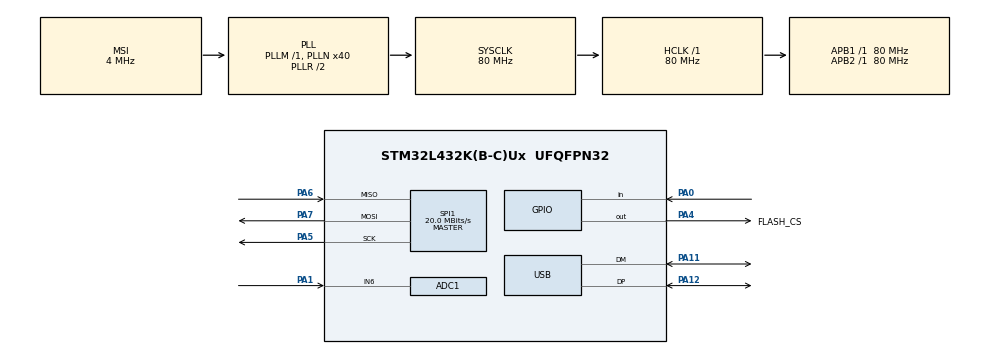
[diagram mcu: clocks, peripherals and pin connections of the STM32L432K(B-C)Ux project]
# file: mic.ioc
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ADC1.Channel-0\#ChannelRegularConversion=ADC_CHANNEL_6
ADC1.DMAContinuousRequests=ENABLE
ADC1.ExternalTrigConv=ADC_EXTERNALTRIG_T6_TRGO
ADC1.NbrOfConversionFlag=1
ADC1.OffsetNumber-0\#ChannelRegularConversion=ADC_OFFSET_NONE
ADC1.Rank-0\#ChannelRegularConversion=1
ADC1.SamplingTime-0\#ChannelRegularConversion=ADC_SAMPLETIME_2CYCLES_5
ADC1.master=1
Dma.ADC1.0.Direction=DMA_PERIPH_TO_MEMORY
Dma.ADC1.0.Instance=DMA1_Channel1
Dma.ADC1.0.MemDataAlignment=DMA_MDATAALIGN_HALFWORD
Dma.ADC1.0.MemInc=DMA_MINC_ENABLE
Dma.ADC1.0.Mode=DMA_CIRCULAR
Dma.ADC1.0.PeriphDataAlignment=DMA_PDATAALIGN_HALFWORD
Dma.ADC1.0.PeriphInc=DMA_PINC_DISABLE
Dma.ADC1.0.Priority=DMA_PRIORITY_LOW
Dma.Request0=ADC1
FATFS._MAX_SS=4096
Mcu.Family=STM32L4
Mcu.Name=STM32L432K(B-C)Ux
Mcu.Package=UFQFPN32
NVIC.DMA1_Channel1_IRQn=true\:0\:0\:false\:false\:true\:false\:true\:true
NVIC.PriorityGroup=NVIC_PRIORITYGROUP_4
NVIC.USB_IRQn=true\:0\:0\:false\:false\:true\:false\:true\:true
PA0.GPIO_PuPd=GPIO_PULLUP
PA0.Signal=GPIO_Input
PA1.Signal=ADCx_IN6
PA11.Mode=Device
PA11.Signal=USB_DM
PA12.Mode=Device
PA12.Signal=USB_DP
PA4.GPIO_Label=FLASH_CS
PA4.PinState=GPIO_PIN_SET
PA4.Signal=GPIO_Output
PA5.Mode=Full_Duplex_Master
PA5.Signal=SPI1_SCK
PA6.Mode=Full_Duplex_Master
PA6.Signal=SPI1_MISO
PA7.Mode=Full_Duplex_Master
PA7.Signal=SPI1_MOSI
ProjectManager.HeapSize=0x200
ProjectManager.StackSize=0x400
ProjectManager.TargetToolchain=STM32CubeIDE
RCC.ADCFreq_Value=48000000
RCC.AHBFreq_Value=80000000
RCC.APB1Freq_Value=80000000
RCC.APB1TimFreq_Value=80000000
RCC.APB2Freq_Value=80000000
RCC.APB2TimFreq_Value=80000000
RCC.CK48CLockSelection=RCC_USBCLKSOURCE_HSI48
RCC.CortexFreq_Value=80000000
RCC.HCLKFreq_Value=80000000
RCC.HSE_VALUE=8000000
RCC.HSI16_VALUE=16000000
RCC.HSI48_VALUE=48000000
RCC.HSI_VALUE=16000000
RCC.LSE_VALUE=32768
RCC.MSI_VALUE=4000000
RCC.PLLMUL=RCC_PLLMUL_4
RCC.PLLN=40
RCC.PLLSAI1N=24
RCC.SYSCLKFreq_VALUE=80000000
RCC.SYSCLKSource=RCC_SYSCLKSOURCE_PLLCLK
RCC.USBFreq_Value=48000000
RCC.VCOOutputFreq_Value=160000000
SH.ADCx_IN6.0=ADC1_IN6,IN6-Single-Ended
SPI1.BaudRatePrescaler=SPI_BAUDRATEPRESCALER_4
SPI1.CalculateBaudRate=20.0 MBits/s
SPI1.DataSize=SPI_DATASIZE_8BIT
SPI1.Direction=SPI_DIRECTION_2LINES
SPI1.Mode=SPI_MODE_MASTER
SPI1.NSSPMode=SPI_NSS_PULSE_DISABLE
SPI1.VirtualType=VM_MASTER
TIM6.Period=7999
TIM6.TIM_MasterOutputTrigger=TIM_TRGO_UPDATE
USB_DEVICE.CLASS_NAME_FS=MSC
USB_DEVICE.MANUFACTURER_STRING=Richard
USB_DEVICE.VirtualMode=Msc
USB_DEVICE.VirtualModeFS=Msc_FS
VP_FATFS_VS_Generic.Mode=User_defined
VP_TIM6_VS_ClockSourceINT.Mode=Enable_Timer
VP_USB_DEVICE_VS_USB_DEVICE_MSC_FS.Mode=MSC_FS
board=NUCLEO-L432KC

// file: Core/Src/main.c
/* USER CODE BEGIN Header */
/**
  ******************************************************************************
  * @file           : main.c
  * @brief          : Main program body
  ******************************************************************************
  * @attention
  *
  * Copyright (c) 2026 STMicroelectronics.
  * All rights reserved.
  *
  * This software is licensed under terms that can be found in the LICENSE file
  * in the root directory of this software component.
  * If no LICENSE file comes with this software, it is provided AS-IS.
  *
  ******************************************************************************
  */
/* USER CODE END Header */
#include "main.h"
#include "fatfs.h"
#include "usb_device.h"

/* USER CODE BEGIN Includes */
#include "flash_disk.h"
#include "w25q128.h"
#include "storage_manager.h"
#include "wav_writer.h"
/* USER CODE END Includes */

ADC_HandleTypeDef hadc1;
DMA_HandleTypeDef hdma_adc1;

SPI_HandleTypeDef hspi1;

TIM_HandleTypeDef htim6;

/* USER CODE BEGIN PV */
uint16_t audio_buffer[4096];
volatile uint8_t adc_half_ready = 0;
volatile uint8_t adc_full_ready = 0;
/* USER CODE END PV */

void SystemClock_Config(void);
static void MX_GPIO_Init(void);
static void MX_DMA_Init(void);
static void MX_SPI1_Init(void);
static void MX_ADC1_Init(void);
static void MX_TIM6_Init(void);

int main(void)
{

  /* MCU Configuration--------------------------------------------------------*/

  /* Reset of all peripherals, Initializes the Flash interface and the Systick. */
  HAL_Init();

  /* Configure the system clock */
  SystemClock_Config();

  /* Initialize all configured peripherals */
  MX_GPIO_Init();
  MX_DMA_Init();
  MX_USB_DEVICE_Init();
  MX_SPI1_Init();
  MX_FATFS_Init();
  MX_ADC1_Init();
  MX_TIM6_Init();
  /* USER CODE BEGIN 2 */
  FATFS fs;

  if(f_mount(&fs, "", 1) != FR_OK)
  {
//      Error_Handler();
  }
  StorageManager_Init();
  /* USER CODE END 2 */

  /* Infinite loop */
  /* USER CODE BEGIN WHILE */
  while (1)
  {
    StorageManager_Task();
    /* USER CODE END WHILE */

  }
}

void SystemClock_Config(void)
{
  RCC_OscInitTypeDef RCC_OscInitStruct = {0};
  RCC_ClkInitTypeDef RCC_ClkInitStruct = {0};

  /** Configure the main internal regulator output voltage
  */
  if (HAL_PWREx_ControlVoltageScaling(PWR_REGULATOR_VOLTAGE_SCALE1) != HAL_OK)
  {
    Error_Handler();
  }

  /** Initializes the RCC Oscillators according to the specified parameters
  * in the RCC_OscInitTypeDef structure.
  */
  RCC_OscInitStruct.OscillatorType = RCC_OSCILLATORTYPE_HSI48|RCC_OSCILLATORTYPE_MSI;
  RCC_OscInitStruct.HSI48State = RCC_HSI48_ON;
  RCC_OscInitStruct.MSIState = RCC_MSI_ON;
  RCC_OscInitStruct.MSICalibrationValue = 0;
  RCC_OscInitStruct.MSIClockRange = RCC_MSIRANGE_6;
  RCC_OscInitStruct.PLL.PLLState = RCC_PLL_ON;
  RCC_OscInitStruct.PLL.PLLSource = RCC_PLLSOURCE_MSI;
  RCC_OscInitStruct.PLL.PLLM = 1;
  RCC_OscInitStruct.PLL.PLLN = 40;
  RCC_OscInitStruct.PLL.PLLP = RCC_PLLP_DIV7;
  RCC_OscInitStruct.PLL.PLLQ = RCC_PLLQ_DIV2;
  RCC_OscInitStruct.PLL.PLLR = RCC_PLLR_DIV2;
  if (HAL_RCC_OscConfig(&RCC_OscInitStruct) != HAL_OK)
  {
    Error_Handler();
  }

  /** Initializes the CPU, AHB and APB buses clocks
  */
  RCC_ClkInitStruct.ClockType = RCC_CLOCKTYPE_HCLK|RCC_CLOCKTYPE_SYSCLK
                              |RCC_CLOCKTYPE_PCLK1|RCC_CLOCKTYPE_PCLK2;
  RCC_ClkInitStruct.SYSCLKSource = RCC_SYSCLKSOURCE_PLLCLK;
  RCC_ClkInitStruct.AHBCLKDivider = RCC_SYSCLK_DIV1;
  RCC_ClkInitStruct.APB1CLKDivider = RCC_HCLK_DIV1;
  RCC_ClkInitStruct.APB2CLKDivider = RCC_HCLK_DIV1;

  if (HAL_RCC_ClockConfig(&RCC_ClkInitStruct, FLASH_LATENCY_4) != HAL_OK)
  {
    Error_Handler();
  }
}

static void MX_ADC1_Init(void)
{

  ADC_ChannelConfTypeDef sConfig = {0};

  /** Common config
  */
  hadc1.Instance = ADC1;
  hadc1.Init.ClockPrescaler = ADC_CLOCK_ASYNC_DIV1;
  hadc1.Init.Resolution = ADC_RESOLUTION_12B;
  hadc1.Init.DataAlign = ADC_DATAALIGN_RIGHT;
  hadc1.Init.ScanConvMode = ADC_SCAN_DISABLE;
  hadc1.Init.EOCSelection = ADC_EOC_SINGLE_CONV;
  hadc1.Init.LowPowerAutoWait = DISABLE;
  hadc1.Init.ContinuousConvMode = DISABLE;
  hadc1.Init.NbrOfConversion = 1;
  hadc1.Init.DiscontinuousConvMode = DISABLE;
  hadc1.Init.ExternalTrigConv = ADC_EXTERNALTRIG_T6_TRGO;
  hadc1.Init.ExternalTrigConvEdge = ADC_EXTERNALTRIGCONVEDGE_RISING;
  hadc1.Init.DMAContinuousRequests = ENABLE;
  hadc1.Init.Overrun = ADC_OVR_DATA_PRESERVED;
  hadc1.Init.OversamplingMode = DISABLE;
  if (HAL_ADC_Init(&hadc1) != HAL_OK)
  {
    Error_Handler();
  }

  /** Configure Regular Channel
  */
  sConfig.Channel = ADC_CHANNEL_6;
  sConfig.Rank = ADC_REGULAR_RANK_1;
  sConfig.SamplingTime = ADC_SAMPLETIME_2CYCLES_5;
  sConfig.SingleDiff = ADC_SINGLE_ENDED;
  sConfig.OffsetNumber = ADC_OFFSET_NONE;
  sConfig.Offset = 0;
  if (HAL_ADC_ConfigChannel(&hadc1, &sConfig) != HAL_OK)
  {
    Error_Handler();
  }

}

static void MX_SPI1_Init(void)
{

  /* SPI1 parameter configuration*/
  hspi1.Instance = SPI1;
  hspi1.Init.Mode = SPI_MODE_MASTER;
  hspi1.Init.Direction = SPI_DIRECTION_2LINES;
  hspi1.Init.DataSize = SPI_DATASIZE_8BIT;
  hspi1.Init.CLKPolarity = SPI_POLARITY_LOW;
  hspi1.Init.CLKPhase = SPI_PHASE_1EDGE;
  hspi1.Init.NSS = SPI_NSS_SOFT;
  hspi1.Init.BaudRatePrescaler = SPI_BAUDRATEPRESCALER_4;
  hspi1.Init.FirstBit = SPI_FIRSTBIT_MSB;
  hspi1.Init.TIMode = SPI_TIMODE_DISABLE;
  hspi1.Init.CRCCalculation = SPI_CRCCALCULATION_DISABLE;
  hspi1.Init.CRCPolynomial = 7;
  hspi1.Init.CRCLength = SPI_CRC_LENGTH_DATASIZE;
  hspi1.Init.NSSPMode = SPI_NSS_PULSE_DISABLE;
  if (HAL_SPI_Init(&hspi1) != HAL_OK)
  {
    Error_Handler();
  }

}

static void MX_TIM6_Init(void)
{

  TIM_MasterConfigTypeDef sMasterConfig = {0};

  htim6.Instance = TIM6;
  htim6.Init.Prescaler = 0;
  htim6.Init.CounterMode = TIM_COUNTERMODE_UP;
  htim6.Init.Period = 7999;
  htim6.Init.AutoReloadPreload = TIM_AUTORELOAD_PRELOAD_DISABLE;
  if (HAL_TIM_Base_Init(&htim6) != HAL_OK)
  {
    Error_Handler();
  }
  sMasterConfig.MasterOutputTrigger = TIM_TRGO_UPDATE;
  sMasterConfig.MasterSlaveMode = TIM_MASTERSLAVEMODE_DISABLE;
  if (HAL_TIMEx_MasterConfigSynchronization(&htim6, &sMasterConfig) != HAL_OK)
  {
    Error_Handler();
  }

}

static void MX_DMA_Init(void)
{

  /* DMA controller clock enable */
  __HAL_RCC_DMA1_CLK_ENABLE();

  /* DMA interrupt init */
  /* DMA1_Channel1_IRQn interrupt configuration */
  HAL_NVIC_SetPriority(DMA1_Channel1_IRQn, 0, 0);
  HAL_NVIC_EnableIRQ(DMA1_Channel1_IRQn);

}

static void MX_GPIO_Init(void)
{
  GPIO_InitTypeDef GPIO_InitStruct = {0};

  /* GPIO Ports Clock Enable */
  __HAL_RCC_GPIOA_CLK_ENABLE();

  /*Configure GPIO pin Output Level */
  HAL_GPIO_WritePin(FLASH_CS_GPIO_Port, FLASH_CS_Pin, GPIO_PIN_SET);

  /*Configure GPIO pin : PA0 */
  GPIO_InitStruct.Pin = GPIO_PIN_0;
  GPIO_InitStruct.Mode = GPIO_MODE_INPUT;
  GPIO_InitStruct.Pull = GPIO_PULLUP;
  HAL_GPIO_Init(GPIOA, &GPIO_InitStruct);

  /*Configure GPIO pin : FLASH_CS_Pin */
  GPIO_InitStruct.Pin = FLASH_CS_Pin;
  GPIO_InitStruct.Mode = GPIO_MODE_OUTPUT_PP;
  GPIO_InitStruct.Pull = GPIO_NOPULL;
  GPIO_InitStruct.Speed = GPIO_SPEED_FREQ_LOW;
  HAL_GPIO_Init(FLASH_CS_GPIO_Port, &GPIO_InitStruct);

}

/* USER CODE BEGIN 4 */
void HAL_ADC_ConvHalfCpltCallback(ADC_HandleTypeDef *hadc)
{
    if(hadc->Instance == ADC1)
    {
        adc_half_ready = 1;
    }
}

void HAL_ADC_ConvCpltCallback(ADC_HandleTypeDef *hadc)
{
    if(hadc->Instance == ADC1)
    {
        adc_full_ready = 1;
    }
}
/* USER CODE END 4 */

void Error_Handler(void)
{
  __disable_irq();
  while (1)
  {
  }
}
